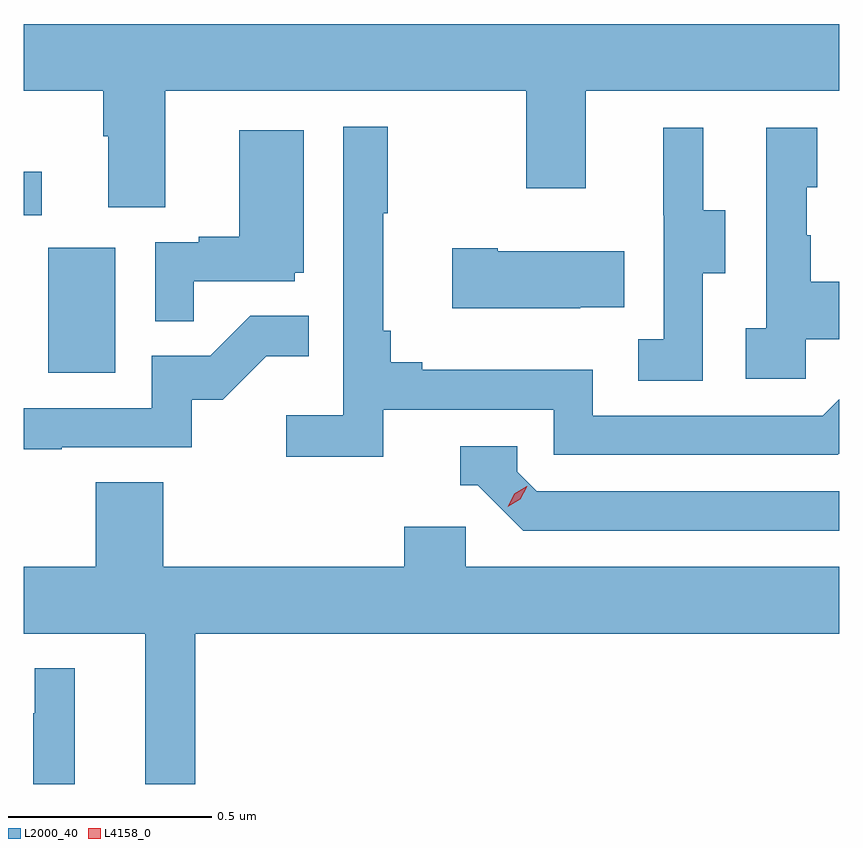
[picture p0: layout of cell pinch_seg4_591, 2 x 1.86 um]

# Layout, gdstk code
import gdstk
lib = gdstk.Library(unit=1e-6, precision=1e-09)
def R(c, l, rs):  # rectangles x0, y0, x1, y1
    for r in rs: c.add(gdstk.rectangle(r[:2], r[2:], *l))
def P(c, l, *ps):  # polygons
    for p in ps: c.add(gdstk.Polygon(p, *l))
L2000_40 = (2000, 40)
L4158_0 = (4158, 0)

pinch_seg4_591 = lib.new_cell('pinch_seg4_591')
R(pinch_seg4_591, L2000_40, [(1031.564,786.804,1031.728,787.111), (1031.504,787.191,1031.548,787.297)])
P(pinch_seg4_591, L2000_40, [(1031.851,787.496),(1032.736,787.496),(1032.736,787.257),(1032.883,787.257),(1032.883,787.496),(1033.504,787.496),(1033.504,787.66),(1031.504,787.66),(1031.504,787.496),(1031.699,787.496),(1031.699,787.384),(1031.711,787.384),(1031.711,787.21),(1031.851,787.21)],
  [(1032.386,786.714),(1032.804,786.714),(1032.804,786.603),(1033.501,786.603),(1033.504,786.606),(1033.504,786.739),(1033.464,786.699),(1032.9,786.699),(1032.9,786.811),(1032.481,786.811),(1032.481,786.83),(1032.404,786.83),(1032.404,786.907),(1032.385,786.907),(1032.385,787.195),(1032.397,787.195),(1032.397,787.408),(1032.288,787.408),(1032.288,786.7),(1032.147,786.7),(1032.147,786.598),(1032.386,786.598)],
  [(1033.422,786.887),(1033.504,786.887),(1033.504,787.027),(1033.435,787.027),(1033.435,787.142),(1033.425,787.142),(1033.425,787.26),(1033.45,787.26),(1033.45,787.405),(1033.326,787.405),(1033.326,786.914),(1033.275,786.914),(1033.275,786.789),(1033.422,786.789)],
  [(1033.17,787.048),(1033.225,787.048),(1033.225,787.203),(1033.171,787.203),(1033.171,787.405),(1033.073,787.405),(1033.073,787.191),(1033.074,787.191),(1033.074,786.887),(1033.011,786.887),(1033.011,786.784),(1033.17,786.784)],
  [(1031.921,787.029),(1032.168,787.029),(1032.168,787.05),(1032.19,787.05),(1032.19,787.399),(1032.032,787.399),(1032.032,787.138),(1031.933,787.138),(1031.933,787.125),(1031.826,787.125),(1031.826,786.931),(1031.921,786.931)],
  [(1032.869,786.965),(1032.977,786.965),(1032.977,787.102),(1032.667,787.102),(1032.667,787.11),(1032.555,787.11),(1032.555,786.962),(1032.869,786.962)],
  [(1031.597,786.621),(1031.916,786.621),(1031.916,786.738),(1031.992,786.738),(1032.099,786.845),(1032.203,786.845),(1032.203,786.944),(1032.059,786.944),(1031.961,786.846),(1031.817,786.846),(1031.817,786.717),(1031.504,786.717),(1031.504,786.616),(1031.597,786.616)],
  [(1033.504,786.513),(1032.762,786.513),(1032.714,786.561),(1032.714,786.624),(1032.575,786.624),(1032.575,786.528),(1032.618,786.528),(1032.729,786.417),(1033.504,786.417)],
  [(1031.924,786.164),(1033.504,786.164),(1033.504,786.328),(1032.588,786.328),(1032.588,786.426),(1032.437,786.426),(1032.437,786.328),(1031.846,786.328),(1031.846,786.536),(1031.68,786.536),(1031.68,786.328),(1031.504,786.328),(1031.504,786.164),(1031.801,786.164),(1031.801,785.795),(1031.924,785.795)],
  [(1031.629,786.079),(1031.531,786.079),(1031.531,785.969),(1031.527,785.969),(1031.527,785.795),(1031.629,785.795)])
P(pinch_seg4_591, L4158_0, [(1032.691,786.475),(1032.691,786.475),(1032.707,786.507),(1032.738,786.526),(1032.739,786.526),(1032.739,786.526),(1032.722,786.494),(1032.691,786.475)])

lib.write_gds('pinch_seg4_591.gds')
